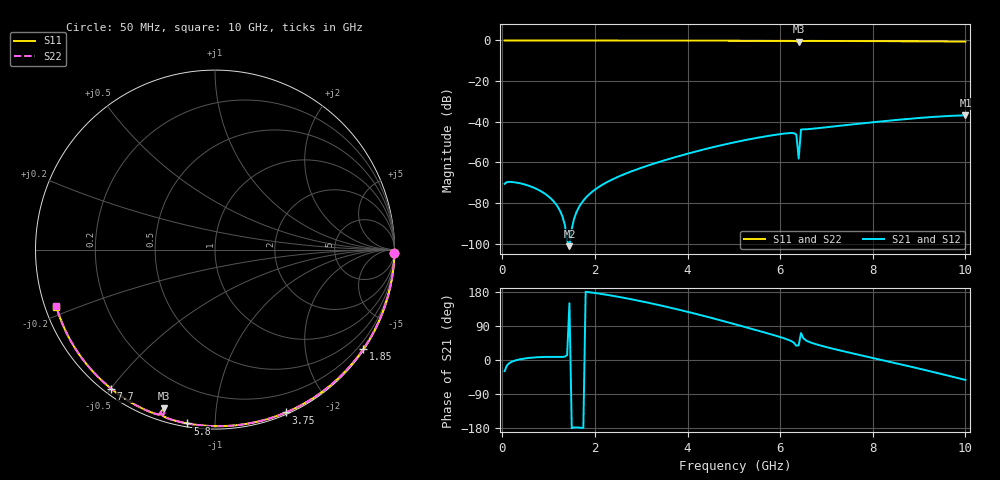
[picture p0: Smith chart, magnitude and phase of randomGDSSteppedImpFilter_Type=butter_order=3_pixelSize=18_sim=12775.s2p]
! freq	dB(S11)	phase(S11)	dB(S12)	phase(S12)
!  dB(S21)	phase(S21)	dB(S22)	phase(S22)
!S-par simulation data
#  GHz  S  DB  R 50
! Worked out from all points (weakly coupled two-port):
!   200 points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, 50 MHz to 10 GHz, reference 50 ohm
!   highest |S21| = -36.81 dB at 10 GHz (marker M1); lowest = -101.2 dB at 1.45 GHz (marker M2)
!   lowest |S11| = -0.6 dB at 6.4 GHz (marker M3), VSWR 27.37, Z = 2.79 - j36.3 ohm
!   |S11| at or under -10 dB: nowhere
!   |S22| runs from -0.6 to 0.0 dB; largest |S21 - S12| = 0
!   S11 on the Smith chart (normalised r, x): 50 MHz: open; 1.85 GHz: 0.03, -3.29; 3.75 GHz: 0.02, -1.53; 5.8 GHz: 0.02, -0.85; 7.7 GHz: 0.02, -0.50; 10 GHz: 0.03, -0.17
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0.05  -0.00 -0.9  -70.53 -29.2  -70.53 -29.2  -0.00 -0.9
0.15  -0.00 -2.8  -69.56 -8.3  -69.56 -8.3  -0.00 -2.8
0.5  -0.01 -9.3  -70.95 4.2  -70.95 4.2  -0.01 -9.3
0.85  -0.02 -15.7  -74.37 7.9  -74.37 7.9  -0.02 -15.7
1.15  -0.03 -21.2  -80.29 8.2  -80.29 8.2  -0.03 -21.2
1.45  -0.03 -26.6  -101.20 149.7  -101.20 149.7  -0.03 -26.6
1.7  -0.04 -31.1  -80.34 -178.8  -80.34 -178.8  -0.04 -31.1
1.75  -0.04 -32.0  -78.78 -179.4  -78.78 -179.4  -0.04 -32.0
1.85  -0.04 -33.8  -76.27 179.2  -76.27 179.2  -0.04 -33.8
2.4  -0.06 -43.5  -68.11 169.1  -68.11 169.1  -0.06 -43.5
3.4  -0.08 -60.6  -59.67 144.5  -59.67 144.5  -0.08 -60.6
3.75  -0.09 -66.5  -57.31 134.6  -57.31 134.6  -0.09 -66.5
5.05  -0.13 -87.4  -49.92 93.5  -49.92 93.5  -0.13 -87.4
5.8  -0.17 -99.0  -46.75 67.9  -46.75 67.9  -0.17 -99.0
6.2  -0.21 -105.4  -45.57 52.1  -45.57 52.1  -0.20 -105.4
6.35  -0.36 -108.5  -46.30 37.6  -46.30 37.6  -0.36 -108.5
6.4  -0.63 -107.9  -58.09 38.9  -58.09 38.9  -0.63 -108.1
6.45  -0.39 -107.2  -43.81 71.2  -43.81 71.2  -0.40 -107.2
6.7  -0.23 -111.9  -43.44 44.5  -43.44 44.5  -0.23 -111.9
7.7  -0.29 -126.7  -40.95 13.6  -40.95 13.6  -0.29 -126.8
8.35  -0.35 -136.1  -39.45 -4.4  -39.45 -4.4  -0.35 -136.2
10  -0.54 -160.2  -36.81 -52.6  -36.81 -52.6  -0.54 -160.3
